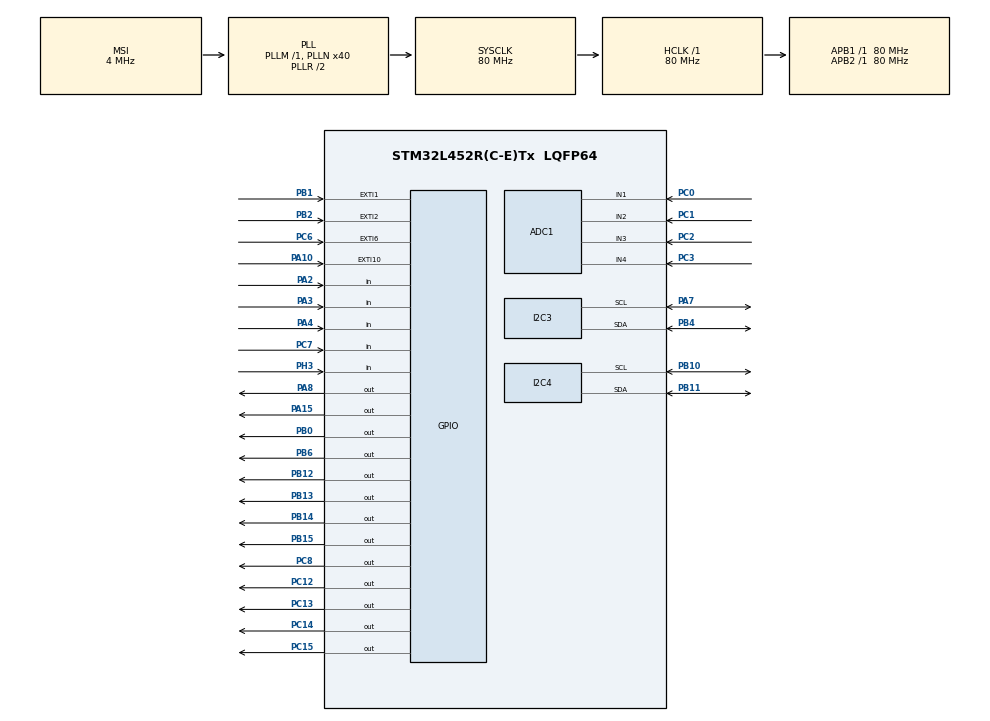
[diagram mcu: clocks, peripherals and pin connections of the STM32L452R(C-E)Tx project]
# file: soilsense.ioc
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ADC1.Channel-0\#ChannelRegularConversion=ADC_CHANNEL_1
ADC1.NbrOfConversionFlag=1
ADC1.OffsetNumber-0\#ChannelRegularConversion=ADC_OFFSET_NONE
ADC1.Rank-0\#ChannelRegularConversion=1
ADC1.SamplingTime-0\#ChannelRegularConversion=ADC_SAMPLETIME_2CYCLES_5
ADC1.master=1
I2C3.Timing=0x10D19CE4
I2C4.Timing=0x10D19CE4
Mcu.Family=STM32L4
Mcu.Name=STM32L452R(C-E)Tx
Mcu.Package=LQFP64
NVIC.EXTI15_10_IRQn=true\:0\:0\:false\:false\:true\:true\:true\:true
NVIC.EXTI1_IRQn=true\:0\:0\:false\:false\:true\:true\:true\:true
NVIC.EXTI2_IRQn=true\:0\:0\:false\:false\:true\:true\:true\:true
NVIC.EXTI9_5_IRQn=true\:0\:0\:false\:false\:true\:true\:true\:true
NVIC.PriorityGroup=NVIC_PRIORITYGROUP_4
NVIC.RTC_Alarm_IRQn=true\:14\:0\:true\:false\:true\:true\:true\:true
PA0.Signal=UART4_TX
PA1.Signal=UART4_RX
PA10.Signal=GPXTI10
PA13\ (JTMS/SWDIO).Signal=SYS_JTMS-SWDIO
PA14\ (JTCK/SWCLK).Signal=SYS_JTCK-SWCLK
PA15\ (JTDI).Signal=GPIO_Output
PA2.Signal=GPIO_Input
PA3.Signal=GPIO_Input
PA4.Signal=GPIO_Input
PA7.Mode=I2C
PA7.Signal=I2C3_SCL
PA8.Signal=GPIO_Output
PB0.Signal=GPIO_Output
PB1.Signal=GPXTI1
PB10.Mode=I2C
PB10.Signal=I2C4_SCL
PB11.Mode=I2C
PB11.Signal=I2C4_SDA
PB12.Signal=GPIO_Output
PB13.Signal=GPIO_Output
PB14.Signal=GPIO_Output
PB15.Signal=GPIO_Output
PB2.Signal=GPXTI2
PB3\ (JTDO/TRACESWO).Signal=SYS_JTDO-SWO
PB4\ (NJTRST).Mode=I2C
PB4\ (NJTRST).Signal=I2C3_SDA
PB6.Signal=GPIO_Output
PC0.Signal=ADCx_IN1
PC1.Signal=ADCx_IN2
PC12.Signal=GPIO_Output
PC13.Signal=GPIO_Output
PC14-OSC32_IN\ (PC14).Signal=GPIO_Output
PC15-OSC32_OUT\ (PC15).Signal=GPIO_Output
PC2.Signal=ADCx_IN3
PC3.Signal=ADCx_IN4
PC6.Signal=GPXTI6
PC7.Signal=GPIO_Input
PC8.Signal=GPIO_Output
PH3-BOOT0\ (BOOT0).Signal=GPIO_Input
ProjectManager.HeapSize=0x200
ProjectManager.StackSize=0x400
ProjectManager.TargetToolchain=STM32CubeIDE
RCC.ADCFreq_Value=48000000
RCC.AHBFreq_Value=80000000
RCC.APB1Freq_Value=80000000
RCC.APB1TimFreq_Value=80000000
RCC.APB2Freq_Value=80000000
RCC.APB2TimFreq_Value=80000000
RCC.CortexFreq_Value=80000000
RCC.HCLKFreq_Value=80000000
RCC.HSE_VALUE=8000000
RCC.HSI48_VALUE=48000000
RCC.HSI_VALUE=16000000
RCC.LSE_VALUE=32768
RCC.MSI_VALUE=4000000
RCC.PLLN=40
RCC.PLLSAI1N=24
RCC.SYSCLKFreq_VALUE=80000000
RCC.SYSCLKSource=RCC_SYSCLKSOURCE_PLLCLK
RCC.USBFreq_Value=48000000
RCC.VCOOutputFreq_Value=160000000
RTC.Alarm-Alarm\ A=RTC_ALARM_A
RTC.Minutes_A-Alarm\ A=10
SH.ADCx_IN1.0=ADC1_IN1,IN1-Single-Ended
SH.ADCx_IN2.0=ADC1_IN2,IN2-Single-Ended
SH.ADCx_IN3.0=ADC1_IN3,IN3-Single-Ended
SH.ADCx_IN4.0=ADC1_IN4,IN4-Single-Ended
VP_RTC_VS_RTC_Activate.Mode=RTC_Enabled
VP_RTC_VS_RTC_Alarm_A_Intern.Mode=Alarm A
VP_RTC_VS_RTC_Calendar.Mode=RTC_Calendar
board=custom

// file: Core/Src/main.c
/* USER CODE BEGIN Header */
/**
  ******************************************************************************
  * @file           : main.c
  * @brief          : Main program body
  ******************************************************************************
  * @attention
  *
  * Copyright (c) 2024 STMicroelectronics.
  * All rights reserved.
  *
  * This software is licensed under terms that can be found in the LICENSE file
  * in the root directory of this software component.
  * If no LICENSE file comes with this software, it is provided AS-IS.
  *
  ******************************************************************************
  */
/* USER CODE END Header */
#include "main.h"

/* USER CODE BEGIN Includes */
#include "adc.h"
#include "dht.h"
#include "light_sensor.h"
#include "moisture_sensor.h"
#include "plant_database.h"
#include "setup.h"
#include "temp_rh_sensor.h"
#include "user_interaction.h"
#include "veml7700.h"
#include "liquidcrystal_i2c.h"

/* USER CODE END Includes */

/* USER CODE BEGIN PD */
#define VEML7700_I2C_ADDRESS    0x10

/* USER CODE END PD */

ADC_HandleTypeDef hadc1;

I2C_HandleTypeDef hi2c3;
I2C_HandleTypeDef hi2c4;

RTC_HandleTypeDef hrtc;

/* USER CODE BEGIN PV */
veml7700 veml;

/* USER CODE END PV */

void SystemClock_Config(void);
static void MX_GPIO_Init(void);
static void MX_RTC_Init(void);
static void MX_ADC1_Init(void);
static void MX_I2C3_Init(void);
static void MX_I2C4_Init(void);

int main(void)
{

  /* MCU Configuration--------------------------------------------------------*/

  /* Reset of all peripherals, Initializes the Flash interface and the Systick. */
  HAL_Init();

  /* Configure the system clock */
  SystemClock_Config();

  /* Initialize all configured peripherals */
  MX_GPIO_Init();
  MX_RTC_Init();
  MX_ADC1_Init();
  MX_I2C3_Init();
  MX_I2C4_Init();
  /* USER CODE BEGIN 2 */
  HD44780_Init(2);
  veml7700_init(&veml, &hi2c4, VEML7700_I2C_ADDRESS);

  /* USER CODE END 2 */

  /* Infinite loop */
  /* USER CODE BEGIN WHILE */
  while (1)
  {
	  // ----- DEMO VERSION ------- *see f4_debug version for full operation
	  // CHECK SETUP
	  if (user_selected_plant.high_temp==0)  // check if plant has been selected
	  {
		  select_plant();
	  }
	  if (calibrated_wet_level==0) // check if moisture level calibrated
	  {
		  calibrate_moisture(hadc1);
	  }
	  if (pot_depth==0) // check if pot depth has been selected
	  {
		  select_pot_depth();
	  }
	  if(*flags[1]==1) // user-initiated recalibration
	  {
		  clear_flags();
		  change_setup(hadc1);
	  }

	  // OPERATION
	  if (*flags[0])  // if RTC IRQ set
	  {
		  // TODO: write demo code
	  }

    /* USER CODE END WHILE */

  }
}

void SystemClock_Config(void)
{
  RCC_OscInitTypeDef RCC_OscInitStruct = {0};
  RCC_ClkInitTypeDef RCC_ClkInitStruct = {0};

  /** Configure the main internal regulator output voltage
  */
  if (HAL_PWREx_ControlVoltageScaling(PWR_REGULATOR_VOLTAGE_SCALE1) != HAL_OK)
  {
    Error_Handler();
  }

  /** Initializes the RCC Oscillators according to the specified parameters
  * in the RCC_OscInitTypeDef structure.
  */
  RCC_OscInitStruct.OscillatorType = RCC_OSCILLATORTYPE_LSI|RCC_OSCILLATORTYPE_MSI;
  RCC_OscInitStruct.LSIState = RCC_LSI_ON;
  RCC_OscInitStruct.MSIState = RCC_MSI_ON;
  RCC_OscInitStruct.MSICalibrationValue = 0;
  RCC_OscInitStruct.MSIClockRange = RCC_MSIRANGE_6;
  RCC_OscInitStruct.PLL.PLLState = RCC_PLL_ON;
  RCC_OscInitStruct.PLL.PLLSource = RCC_PLLSOURCE_MSI;
  RCC_OscInitStruct.PLL.PLLM = 1;
  RCC_OscInitStruct.PLL.PLLN = 40;
  RCC_OscInitStruct.PLL.PLLP = RCC_PLLP_DIV7;
  RCC_OscInitStruct.PLL.PLLQ = RCC_PLLQ_DIV2;
  RCC_OscInitStruct.PLL.PLLR = RCC_PLLR_DIV2;
  if (HAL_RCC_OscConfig(&RCC_OscInitStruct) != HAL_OK)
  {
    Error_Handler();
  }

  /** Initializes the CPU, AHB and APB buses clocks
  */
  RCC_ClkInitStruct.ClockType = RCC_CLOCKTYPE_HCLK|RCC_CLOCKTYPE_SYSCLK
                              |RCC_CLOCKTYPE_PCLK1|RCC_CLOCKTYPE_PCLK2;
  RCC_ClkInitStruct.SYSCLKSource = RCC_SYSCLKSOURCE_PLLCLK;
  RCC_ClkInitStruct.AHBCLKDivider = RCC_SYSCLK_DIV1;
  RCC_ClkInitStruct.APB1CLKDivider = RCC_HCLK_DIV1;
  RCC_ClkInitStruct.APB2CLKDivider = RCC_HCLK_DIV1;

  if (HAL_RCC_ClockConfig(&RCC_ClkInitStruct, FLASH_LATENCY_4) != HAL_OK)
  {
    Error_Handler();
  }
}

static void MX_ADC1_Init(void)
{

  ADC_ChannelConfTypeDef sConfig = {0};

  /** Common config
  */
  hadc1.Instance = ADC1;
  hadc1.Init.ClockPrescaler = ADC_CLOCK_ASYNC_DIV1;
  hadc1.Init.Resolution = ADC_RESOLUTION_12B;
  hadc1.Init.DataAlign = ADC_DATAALIGN_RIGHT;
  hadc1.Init.ScanConvMode = ADC_SCAN_DISABLE;
  hadc1.Init.EOCSelection = ADC_EOC_SINGLE_CONV;
  hadc1.Init.LowPowerAutoWait = DISABLE;
  hadc1.Init.ContinuousConvMode = DISABLE;
  hadc1.Init.NbrOfConversion = 1;
  hadc1.Init.DiscontinuousConvMode = DISABLE;
  hadc1.Init.ExternalTrigConv = ADC_SOFTWARE_START;
  hadc1.Init.ExternalTrigConvEdge = ADC_EXTERNALTRIGCONVEDGE_NONE;
  hadc1.Init.DMAContinuousRequests = DISABLE;
  hadc1.Init.Overrun = ADC_OVR_DATA_PRESERVED;
  hadc1.Init.OversamplingMode = DISABLE;
  if (HAL_ADC_Init(&hadc1) != HAL_OK)
  {
    Error_Handler();
  }

  /** Configure Regular Channel
  */
  sConfig.Channel = ADC_CHANNEL_1;
  sConfig.Rank = ADC_REGULAR_RANK_1;
  sConfig.SamplingTime = ADC_SAMPLETIME_2CYCLES_5;
  sConfig.SingleDiff = ADC_SINGLE_ENDED;
  sConfig.OffsetNumber = ADC_OFFSET_NONE;
  sConfig.Offset = 0;
  if (HAL_ADC_ConfigChannel(&hadc1, &sConfig) != HAL_OK)
  {
    Error_Handler();
  }

}

static void MX_I2C3_Init(void)
{

  hi2c3.Instance = I2C3;
  hi2c3.Init.Timing = 0x10D19CE4;
  hi2c3.Init.OwnAddress1 = 0;
  hi2c3.Init.AddressingMode = I2C_ADDRESSINGMODE_7BIT;
  hi2c3.Init.DualAddressMode = I2C_DUALADDRESS_DISABLE;
  hi2c3.Init.OwnAddress2 = 0;
  hi2c3.Init.OwnAddress2Masks = I2C_OA2_NOMASK;
  hi2c3.Init.GeneralCallMode = I2C_GENERALCALL_DISABLE;
  hi2c3.Init.NoStretchMode = I2C_NOSTRETCH_DISABLE;
  if (HAL_I2C_Init(&hi2c3) != HAL_OK)
  {
    Error_Handler();
  }

  /** Configure Analogue filter
  */
  if (HAL_I2CEx_ConfigAnalogFilter(&hi2c3, I2C_ANALOGFILTER_ENABLE) != HAL_OK)
  {
    Error_Handler();
  }

  /** Configure Digital filter
  */
  if (HAL_I2CEx_ConfigDigitalFilter(&hi2c3, 0) != HAL_OK)
  {
    Error_Handler();
  }

}

static void MX_I2C4_Init(void)
{

  hi2c4.Instance = I2C4;
  hi2c4.Init.Timing = 0x10D19CE4;
  hi2c4.Init.OwnAddress1 = 0;
  hi2c4.Init.AddressingMode = I2C_ADDRESSINGMODE_7BIT;
  hi2c4.Init.DualAddressMode = I2C_DUALADDRESS_DISABLE;
  hi2c4.Init.OwnAddress2 = 0;
  hi2c4.Init.OwnAddress2Masks = I2C_OA2_NOMASK;
  hi2c4.Init.GeneralCallMode = I2C_GENERALCALL_DISABLE;
  hi2c4.Init.NoStretchMode = I2C_NOSTRETCH_DISABLE;
  if (HAL_I2C_Init(&hi2c4) != HAL_OK)
  {
    Error_Handler();
  }

  /** Configure Analogue filter
  */
  if (HAL_I2CEx_ConfigAnalogFilter(&hi2c4, I2C_ANALOGFILTER_ENABLE) != HAL_OK)
  {
    Error_Handler();
  }

  /** Configure Digital filter
  */
  if (HAL_I2CEx_ConfigDigitalFilter(&hi2c4, 0) != HAL_OK)
  {
    Error_Handler();
  }

}

static void MX_RTC_Init(void)
{

  RTC_TimeTypeDef sTime = {0};
  RTC_DateTypeDef sDate = {0};
  RTC_AlarmTypeDef sAlarm = {0};

  /** Initialize RTC Only
  */
  hrtc.Instance = RTC;
  hrtc.Init.HourFormat = RTC_HOURFORMAT_24;
  hrtc.Init.AsynchPrediv = 127;
  hrtc.Init.SynchPrediv = 255;
  hrtc.Init.OutPut = RTC_OUTPUT_DISABLE;
  hrtc.Init.OutPutRemap = RTC_OUTPUT_REMAP_NONE;
  hrtc.Init.OutPutPolarity = RTC_OUTPUT_POLARITY_HIGH;
  hrtc.Init.OutPutType = RTC_OUTPUT_TYPE_OPENDRAIN;
  if (HAL_RTC_Init(&hrtc) != HAL_OK)
  {
    Error_Handler();
  }

  /** Initialize RTC and set the Time and Date
  */
  sTime.Hours = 0x0;
  sTime.Minutes = 0x0;
  sTime.Seconds = 0x0;
  sTime.DayLightSaving = RTC_DAYLIGHTSAVING_NONE;
  sTime.StoreOperation = RTC_STOREOPERATION_RESET;
  if (HAL_RTC_SetTime(&hrtc, &sTime, RTC_FORMAT_BCD) != HAL_OK)
  {
    Error_Handler();
  }
  sDate.WeekDay = RTC_WEEKDAY_MONDAY;
  sDate.Month = RTC_MONTH_JANUARY;
  sDate.Date = 0x1;
  sDate.Year = 0x0;

  if (HAL_RTC_SetDate(&hrtc, &sDate, RTC_FORMAT_BCD) != HAL_OK)
  {
    Error_Handler();
  }

  /** Enable the Alarm A
  */
  sAlarm.AlarmTime.Hours = 0x0;
  sAlarm.AlarmTime.Minutes = 0x10;
  sAlarm.AlarmTime.Seconds = 0x0;
  sAlarm.AlarmTime.SubSeconds = 0x0;
  sAlarm.AlarmTime.DayLightSaving = RTC_DAYLIGHTSAVING_NONE;
  sAlarm.AlarmTime.StoreOperation = RTC_STOREOPERATION_RESET;
  sAlarm.AlarmMask = RTC_ALARMMASK_NONE;
  sAlarm.AlarmSubSecondMask = RTC_ALARMSUBSECONDMASK_ALL;
  sAlarm.AlarmDateWeekDaySel = RTC_ALARMDATEWEEKDAYSEL_DATE;
  sAlarm.AlarmDateWeekDay = 0x1;
  sAlarm.Alarm = RTC_ALARM_A;
  if (HAL_RTC_SetAlarm_IT(&hrtc, &sAlarm, RTC_FORMAT_BCD) != HAL_OK)
  {
    Error_Handler();
  }

}

static void MX_GPIO_Init(void)
{
  GPIO_InitTypeDef GPIO_InitStruct = {0};

  /* GPIO Ports Clock Enable */
  __HAL_RCC_GPIOC_CLK_ENABLE();
  __HAL_RCC_GPIOA_CLK_ENABLE();
  __HAL_RCC_GPIOB_CLK_ENABLE();
  __HAL_RCC_GPIOH_CLK_ENABLE();

  /*Configure GPIO pin Output Level */
  HAL_GPIO_WritePin(GPIOC, GPIO_PIN_13|GPIO_PIN_14|GPIO_PIN_15|GPIO_PIN_8
                          |GPIO_PIN_12, GPIO_PIN_RESET);

  /*Configure GPIO pin Output Level */
  HAL_GPIO_WritePin(GPIOB, GPIO_PIN_0|GPIO_PIN_12|GPIO_PIN_13|GPIO_PIN_14
                          |GPIO_PIN_15|GPIO_PIN_6, GPIO_PIN_RESET);

  /*Configure GPIO pin Output Level */
  HAL_GPIO_WritePin(GPIOA, GPIO_PIN_8|GPIO_PIN_15, GPIO_PIN_RESET);

  /*Configure GPIO pins : PC13 PC14 PC15 PC8
                           PC12 */
  GPIO_InitStruct.Pin = GPIO_PIN_13|GPIO_PIN_14|GPIO_PIN_15|GPIO_PIN_8
                          |GPIO_PIN_12;
  GPIO_InitStruct.Mode = GPIO_MODE_OUTPUT_PP;
  GPIO_InitStruct.Pull = GPIO_NOPULL;
  GPIO_InitStruct.Speed = GPIO_SPEED_FREQ_LOW;
  HAL_GPIO_Init(GPIOC, &GPIO_InitStruct);

  /*Configure GPIO pins : PA0 PA1 */
  GPIO_InitStruct.Pin = GPIO_PIN_0|GPIO_PIN_1;
  GPIO_InitStruct.Mode = GPIO_MODE_AF_PP;
  GPIO_InitStruct.Pull = GPIO_NOPULL;
  GPIO_InitStruct.Speed = GPIO_SPEED_FREQ_VERY_HIGH;
  GPIO_InitStruct.Alternate = GPIO_AF8_UART4;
  HAL_GPIO_Init(GPIOA, &GPIO_InitStruct);

  /*Configure GPIO pins : PA2 PA3 PA4 */
  GPIO_InitStruct.Pin = GPIO_PIN_2|GPIO_PIN_3|GPIO_PIN_4;
  GPIO_InitStruct.Mode = GPIO_MODE_INPUT;
  GPIO_InitStruct.Pull = GPIO_NOPULL;
  HAL_GPIO_Init(GPIOA, &GPIO_InitStruct);

  /*Configure GPIO pins : PB0 PB12 PB13 PB14
                           PB15 PB6 */
  GPIO_InitStruct.Pin = GPIO_PIN_0|GPIO_PIN_12|GPIO_PIN_13|GPIO_PIN_14
                          |GPIO_PIN_15|GPIO_PIN_6;
  GPIO_InitStruct.Mode = GPIO_MODE_OUTPUT_PP;
  GPIO_InitStruct.Pull = GPIO_NOPULL;
  GPIO_InitStruct.Speed = GPIO_SPEED_FREQ_LOW;
  HAL_GPIO_Init(GPIOB, &GPIO_InitStruct);

  /*Configure GPIO pins : PB1 PB2 */
  GPIO_InitStruct.Pin = GPIO_PIN_1|GPIO_PIN_2;
  GPIO_InitStruct.Mode = GPIO_MODE_IT_RISING;
  GPIO_InitStruct.Pull = GPIO_NOPULL;
  HAL_GPIO_Init(GPIOB, &GPIO_InitStruct);

  /*Configure GPIO pin : PC6 */
  GPIO_InitStruct.Pin = GPIO_PIN_6;
  GPIO_InitStruct.Mode = GPIO_MODE_IT_RISING;
  GPIO_InitStruct.Pull = GPIO_NOPULL;
  HAL_GPIO_Init(GPIOC, &GPIO_InitStruct);

  /*Configure GPIO pin : PC7 */
  GPIO_InitStruct.Pin = GPIO_PIN_7;
  GPIO_InitStruct.Mode = GPIO_MODE_INPUT;
  GPIO_InitStruct.Pull = GPIO_NOPULL;
  HAL_GPIO_Init(GPIOC, &GPIO_InitStruct);

  /*Configure GPIO pins : PA8 PA15 */
  GPIO_InitStruct.Pin = GPIO_PIN_8|GPIO_PIN_15;
  GPIO_InitStruct.Mode = GPIO_MODE_OUTPUT_PP;
  GPIO_InitStruct.Pull = GPIO_NOPULL;
  GPIO_InitStruct.Speed = GPIO_SPEED_FREQ_LOW;
  HAL_GPIO_Init(GPIOA, &GPIO_InitStruct);

  /*Configure GPIO pin : PA10 */
  GPIO_InitStruct.Pin = GPIO_PIN_10;
  GPIO_InitStruct.Mode = GPIO_MODE_IT_RISING;
  GPIO_InitStruct.Pull = GPIO_NOPULL;
  HAL_GPIO_Init(GPIOA, &GPIO_InitStruct);

  /*Configure GPIO pin : PH3 */
  GPIO_InitStruct.Pin = GPIO_PIN_3;
  GPIO_InitStruct.Mode = GPIO_MODE_INPUT;
  GPIO_InitStruct.Pull = GPIO_NOPULL;
  HAL_GPIO_Init(GPIOH, &GPIO_InitStruct);

  /* EXTI interrupt init*/
  HAL_NVIC_SetPriority(EXTI1_IRQn, 0, 0);
  HAL_NVIC_EnableIRQ(EXTI1_IRQn);

  HAL_NVIC_SetPriority(EXTI2_IRQn, 0, 0);
  HAL_NVIC_EnableIRQ(EXTI2_IRQn);

  HAL_NVIC_SetPriority(EXTI9_5_IRQn, 0, 0);
  HAL_NVIC_EnableIRQ(EXTI9_5_IRQn);

  HAL_NVIC_SetPriority(EXTI15_10_IRQn, 0, 0);
  HAL_NVIC_EnableIRQ(EXTI15_10_IRQn);

}

/* USER CODE BEGIN 4 */
void HAL_GPIO_EXTI_Callback(uint16_t GPIO_Pin)

{
	static uint32_t last_interrupt_time = 0;
	uint32_t current_time = HAL_GetTick();
	if (current_time - last_interrupt_time < 200)
	{
		return;
	}
	last_interrupt_time = current_time;

	if(GPIO_Pin == GPIO_PIN_8)
	{
		toggle_flag(1);
	}
	else if(GPIO_Pin == GPIO_PIN_10)
	{
		toggle_flag(2);
	}
	else if(GPIO_Pin == GPIO_PIN_4)
	{
		toggle_flag(3);
	}
	else if(GPIO_Pin == GPIO_PIN_5)
	{
		toggle_flag(4);
	}
}

// TODO: update this with correct timing for demo
void HAL_RTC_AlarmAEventCallback(RTC_HandleTypeDef *hrtc) {
  RTC_AlarmTypeDef sAlarm;
  HAL_RTC_GetAlarm(hrtc,&sAlarm,RTC_ALARM_A,FORMAT_BIN);
  if(sAlarm.AlarmTime.Seconds>58) {
    sAlarm.AlarmTime.Seconds=0;
  }else{
    sAlarm.AlarmTime.Seconds=sAlarm.AlarmTime.Seconds+1;
  }
    while(HAL_RTC_SetAlarm_IT(hrtc, &sAlarm, FORMAT_BIN)!=HAL_OK){}
    toggle_flag(0);
}

/* USER CODE END 4 */

void Error_Handler(void)
{
  __disable_irq();
  while (1)
  {
  }
}
